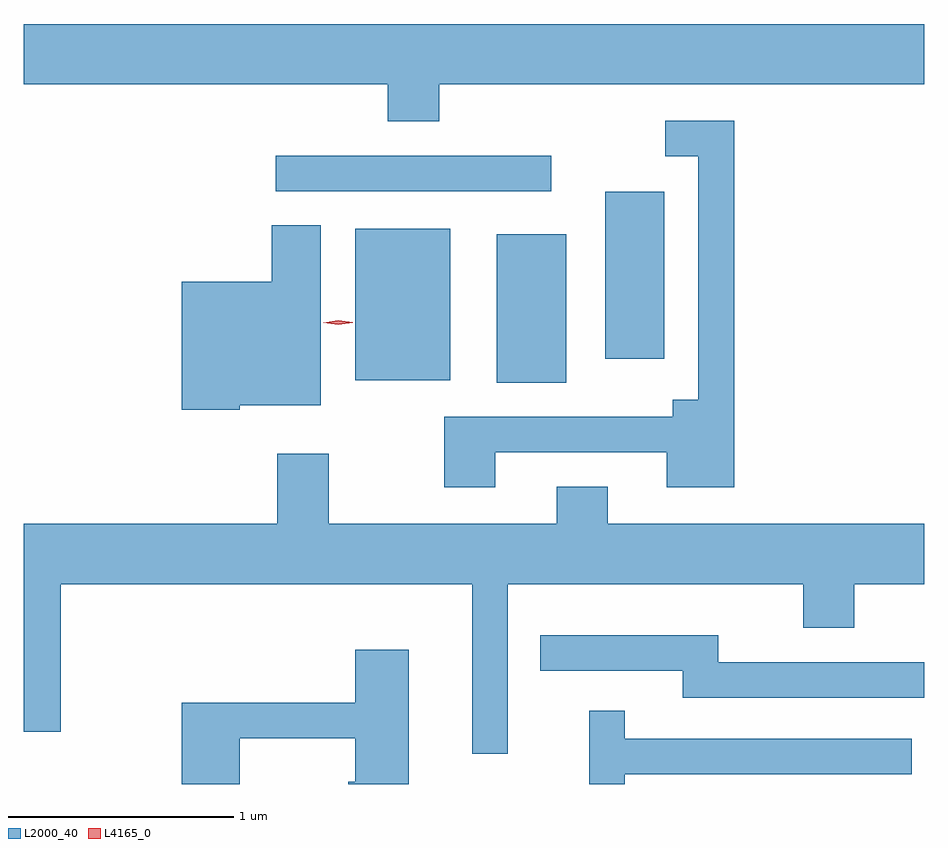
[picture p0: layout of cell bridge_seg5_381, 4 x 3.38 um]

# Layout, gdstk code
import gdstk
lib = gdstk.Library(unit=1e-6, precision=1e-09)
def R(c, l, rs):  # rectangles x0, y0, x1, y1
    for r in rs: c.add(gdstk.rectangle(r[:2], r[2:], *l))
def P(c, l, *ps):  # polygons
    for p in ps: c.add(gdstk.Polygon(p, *l))
L2000_40 = (2000, 40)
L4165_0 = (4165, 0)

bridge_seg5_381 = lib.new_cell('bridge_seg5_381')
R(bridge_seg5_381, L2000_40, [(467.896,1506.531,468.204,1507.189), (467.266,1506.541,467.689,1507.214), (468.376,1506.636,468.639,1507.379), (466.913,1507.381,468.138,1507.539)])
P(bridge_seg5_381, L2000_40, [(467.639,1507.856),(469.794,1507.856),(469.794,1508.124),(465.794,1508.124),(465.794,1507.856),(467.411,1507.856),(467.411,1507.691),(467.639,1507.691)],
  [(467.889,1506.221),(468.651,1506.221),(468.651,1506.066),(468.949,1506.066),(468.949,1507.694),(468.643,1507.694),(468.643,1507.536),(468.791,1507.536),(468.791,1506.454),(468.676,1506.454),(468.676,1506.379),(467.661,1506.379),(467.661,1506.066),(467.889,1506.066)],
  [(466.754,1506.431),(467.114,1506.431),(467.114,1507.229),(466.896,1507.229),(466.896,1506.979),(466.496,1506.979),(466.496,1506.411),(466.754,1506.411)],
  [(467.149,1506.214),(466.921,1506.214),(466.921,1505.904),(465.794,1505.904),(465.794,1504.981),(465.959,1504.981),(465.959,1505.636),(467.786,1505.636),(467.786,1504.883),(467.944,1504.883),(467.944,1505.636),(469.256,1505.636),(469.256,1505.441),(469.484,1505.441),(469.484,1505.636),(469.794,1505.636),(469.794,1505.904),(468.389,1505.904),(468.389,1506.069),(468.161,1506.069),(468.161,1505.904),(467.149,1505.904)],
  [(469.794,1505.289),(468.879,1505.289),(468.879,1505.409),(468.088,1505.409),(468.088,1505.251),(468.721,1505.251),(468.721,1505.131),(469.794,1505.131)],
  [(466.754,1504.951),(467.266,1504.951),(467.266,1504.759),(467.236,1504.759),(467.236,1504.748),(467.504,1504.748),(467.504,1505.344),(467.266,1505.344),(467.266,1505.109),(466.496,1505.109),(466.496,1504.748),(466.754,1504.748)],
  [(468.464,1504.791),(469.738,1504.791),(469.738,1504.949),(468.464,1504.949),(468.464,1505.073),(468.306,1505.073),(468.306,1504.748),(468.464,1504.748)])
P(bridge_seg5_381, L4165_0, [(467.19,1506.788),(467.124,1506.796),(467.124,1506.797),(467.124,1506.798),(467.19,1506.808),(467.256,1506.799),(467.256,1506.798),(467.256,1506.798)])

lib.write_gds('bridge_seg5_381.gds')
